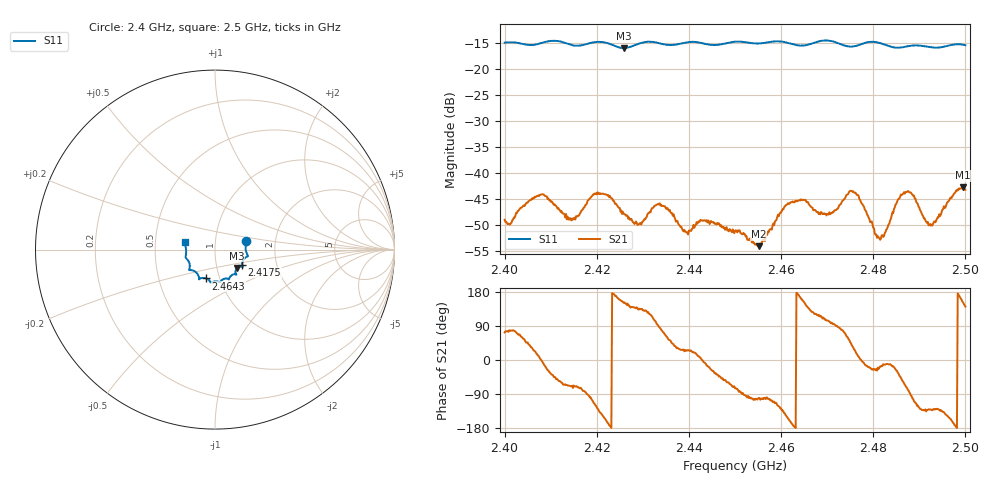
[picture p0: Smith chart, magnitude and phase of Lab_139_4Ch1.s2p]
# Hz S RI R 50
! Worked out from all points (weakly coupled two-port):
!   601 points, 2.4 GHz to 2.5 GHz, reference 50 ohm
!   highest |S21| = -42.76 dB at 2.4995 GHz (marker M1); lowest = -54.1 dB at 2.4552 GHz (marker M2)
!   lowest |S11| = -16.0 dB at 2.4258 GHz (marker M3), VSWR 1.38, Z = 62.3 - j13.1 ohm
!   |S11| at or under -10 dB: start of sweep to end of sweep
!   S12 and S22 are empty: the file has one direction only
!   S11 on the Smith chart (normalised r, x): 2.4 GHz: 1.41, +0.14; 2.4175 GHz: 1.33, -0.23; 2.4643 GHz: 0.86, -0.29; 2.5 GHz: 0.72, +0.06
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2.4e9  0.173 0.0487  0.00105 0.0034  0 0  0 0
2.408e9  0.1773 -0.0206  0.00623 -9.76e-05  0 0  0 0
2.414e9  0.1669 -0.0464  0.00133 -0.00331  0 0  0 0
2.416667e9  0.1525 -0.0739  0.00108 -0.00421  0 0  0 0
2.4175e9  0.1514 -0.0835  0.000513 -0.00488  0 0  0 0
2.421667e9  0.1532 -0.096  -0.0056 -0.00277  0 0  0 0
2.425833e9  0.1218 -0.1027  -0.00356 0.00196  0 0  0 0
2.429333e9  0.1158 -0.1338  -0.00234 0.00231  0 0  0 0
2.433333e9  0.1137 -0.1374  -4.09e-05 0.00506  0 0  0 0
2.439333e9  0.0792 -0.1614  0.00248 0.00113  0 0  0 0
2.45e9  0.0286 -0.1814  0.000731 -0.00266  0 0  0 0
2.455167e9  0.000699 -0.1768  -0.000354 -0.00195  0 0  0 0
2.464333e9  -0.0499 -0.1608  -0.0053 0.00177  0 0  0 0
2.466667e9  -0.0763 -0.1587  -0.0028 0.00374  0 0  0 0
2.470833e9  -0.0885 -0.1642  -0.000489 0.00409  0 0  0 0
2.475333e9  -0.1093 -0.1232  0.00519 0.00424  0 0  0 0
2.481e9  -0.1434 -0.109  0.00231 -0.000854  0 0  0 0
2.483333e9  -0.1405 -0.09  0.00314 -0.000641  0 0  0 0
2.487e9  -0.1551 -0.0547  0.00244 -0.0061  0 0  0 0
2.4925e9  -0.1611 -0.0202  -0.00204 -0.00237  0 0  0 0
2.4995e9  -0.1668 0.0404  -0.00644 0.00339  0 0  0 0
2.5e9  -0.1644 0.043  -0.00537 0.00435  0 0  0 0
